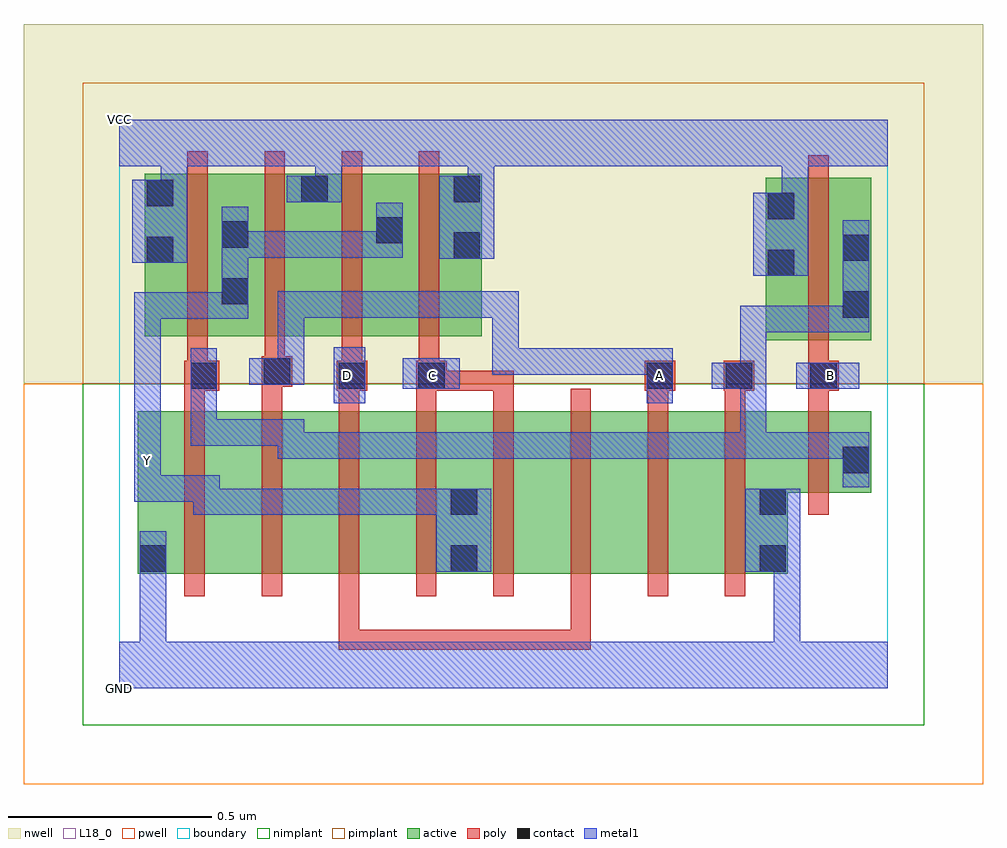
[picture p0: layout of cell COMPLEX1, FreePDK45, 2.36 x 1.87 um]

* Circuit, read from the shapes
.subckt COMPLEX1 A B C D GND VCC Y
M1 n1 n2 GND VSUBS nfet w=0.4u l=0.05u
M2 n3 A n1 VSUBS nfet w=0.4u l=0.05u
M3 n4 D n3 VSUBS nfet w=0.4u l=0.05u
M4 Y C n4 VSUBS nfet w=0.4u l=0.05u
M5 n5 C Y VSUBS nfet w=0.4u l=0.05u
M6 n6 D n5 VSUBS nfet w=0.4u l=0.05u
M7 n7 A n6 VSUBS nfet w=0.4u l=0.05u
M8 GND n2 n7 VSUBS nfet w=0.4u l=0.05u
M9 n2 B GND VSUBS nfet w=0.2u l=0.05u
M10 Y n2 VCC n8 pfet w=0.4u l=0.05u
M11 VCC A Y n8 pfet w=0.4u l=0.05u
M12 Y D VCC n8 pfet w=0.4u l=0.05u
M13 VCC C Y n8 pfet w=0.4u l=0.05u
M14 n2 B VCC n8 pfet w=0.4u l=0.05u
.ends

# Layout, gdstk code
import gdstk
lib = gdstk.Library(unit=1e-6, precision=1e-09)
def R(c, l, rs):  # rectangles x0, y0, x1, y1
    for r in rs: c.add(gdstk.rectangle(r[:2], r[2:], *l))
def A(c, l, x, y, w, h, nx, ny, dx, dy):  # array of equal rectangles
    R(c, l, [(x+i*dx, y+j*dy, x+i*dx+w, y+j*dy+h) for i in range(nx) for j in range(ny)])
active = (1, 0)
pwell = (2, 0)
nwell = (3, 0)
nimplant = (4, 0)
pimplant = (5, 0)
poly = (9, 0)
contact = (10, 0)
metal1 = (11, 0)
L18_0 = (18, 0)
boundary = (235, 0)

complex1 = lib.new_cell('COMPLEX1')
R(complex1, active, [(0.045,0.282,0.28,0.682), (0.045,0.282,0.12,0.682), (0.28,0.282,0.47,0.682), (0.47,0.282,0.66,0.682), (0.66,0.282,0.885,0.682), (0.81,0.282,1.04,0.682), (0.81,0.282,0.885,0.617), (1.04,0.282,1.23,0.682), (1.23,0.282,1.42,0.682), (1.42,0.282,1.645,0.682), (1.57,0.282,1.645,0.597), (1.57,0.482,1.85,0.682), (1.775,0.495,1.85,0.682), (1.59,0.857,1.665,1.257), (1.59,0.857,1.85,1.257), (1.775,0.857,1.85,1.2), (0.062,0.867,0.137,1.267), (0.062,0.867,0.322,1.267), (0.247,0.867,0.517,1.267), (0.442,0.867,0.702,1.267), (0.627,0.867,0.892,1.267), (0.817,0.867,0.892,1.267), (0.247,0.907,0.322,1.2), (0.442,0.907,0.517,1.267), (0.627,0.907,0.702,1.2)])
R(complex1, pwell, [(-0.235,-0.235,2.125,0.75)])
R(complex1, nwell, [(-0.235,0.75,2.125,1.635)])
R(complex1, nimplant, [(-0.09,-0.09,1.98,0.75)])
R(complex1, pimplant, [(-0.09,0.75,1.98,1.49)])
A(complex1, poly, 0.16, 0.227, 0.05, 0.51, 8, 1, 0.19, 0)
A(complex1, poly, 0.54, 0.687, 0.05, 0.095, 3, 1, 0.19, 0)
A(complex1, poly, 0.167, 0.812, 0.05, 0.51, 4, 1, 0.19, 0)
R(complex1, poly, [(0.54,0.095,0.59,0.277), (0.54,0.095,0.59,0.145), (0.54,0.095,0.59,0.145), (0.54,0.095,0.59,0.145), (0.54,0.095,0.837,0.145), (0.787,0.095,0.837,0.145), (0.787,0.095,0.837,0.145), (0.787,0.095,0.837,0.145), (0.787,0.095,0.97,0.145), (0.92,0.095,1.16,0.145), (0.92,0.095,0.97,0.145), (0.92,0.095,0.97,0.145), (0.92,0.095,0.97,0.145), (1.11,0.095,1.16,0.277), (1.11,0.095,1.16,0.145), (1.695,0.427,1.745,0.737), (0.16,0.687,0.21,0.782), (0.35,0.687,0.4,0.792), (1.3,0.687,1.35,0.782), (1.49,0.687,1.54,0.782), (1.695,0.687,1.745,0.782), (0.16,0.732,0.245,0.807), (0.535,0.732,0.61,0.807), (0.73,0.732,0.805,0.807), (0.755,0.732,0.805,0.782), (0.755,0.732,0.805,0.782), (0.755,0.732,0.97,0.782), (0.92,0.732,0.97,0.782), (1.292,0.732,1.367,0.807), (1.487,0.732,1.562,0.807), (1.695,0.732,1.77,0.807), (0.35,0.742,0.425,0.817), (0.167,0.757,0.217,0.862), (0.547,0.757,0.597,0.862), (0.737,0.757,0.787,0.862), (1.695,0.757,1.745,0.852), (0.357,0.767,0.407,0.862), (1.695,0.802,1.745,1.312)])
R(complex1, contact, [(0.05,0.287,0.115,0.352), (0.815,0.287,0.88,0.352), (1.575,0.287,1.64,0.352), (0.815,0.427,0.88,0.492), (1.575,0.427,1.64,0.492), (1.78,0.53,1.845,0.595), (0.175,0.737,0.24,0.802), (0.54,0.737,0.605,0.802), (0.735,0.737,0.8,0.802), (1.297,0.737,1.362,0.802), (1.492,0.737,1.557,0.802), (1.7,0.737,1.765,0.802), (0.355,0.747,0.42,0.812), (1.78,0.912,1.845,0.977), (0.252,0.945,0.317,1.01), (1.595,1.015,1.66,1.08), (0.067,1.047,0.132,1.112), (1.78,1.052,1.845,1.117), (0.822,1.057,0.887,1.122), (0.252,1.085,0.317,1.15), (0.632,1.095,0.697,1.16), (1.595,1.155,1.66,1.22), (0.067,1.187,0.132,1.252), (0.447,1.197,0.512,1.262), (0.822,1.197,0.887,1.262)])
R(complex1, metal1, [(0,0,1.89,0.115), (0.05,0.05,0.115,0.317), (1.61,0.05,1.675,0.115), (1.61,0.05,1.675,0.115), (1.61,0.05,1.675,0.352), (0.05,0.252,0.115,0.317), (0.05,0.252,0.115,0.317), (0.05,0.252,0.115,0.387), (0.78,0.287,0.915,0.492), (1.54,0.287,1.675,0.492), (0.182,0.427,0.385,0.492), (0.182,0.427,0.247,0.525), (0.32,0.427,0.385,0.492), (0.32,0.427,0.455,0.492), (0.39,0.427,0.455,0.492), (0.39,0.427,0.622,0.492), (0.557,0.427,0.622,0.492), (0.557,0.427,0.622,0.492), (0.557,0.427,0.622,0.492), (0.557,0.427,0.845,0.492), (0.78,0.427,0.845,0.492), (0.78,0.427,0.845,0.492), (0.037,0.46,0.102,0.525), (0.037,0.46,0.102,0.525), (0.037,0.46,0.102,0.525), (0.037,0.46,0.102,0.525), (0.037,0.46,0.247,0.525), (0.037,0.46,0.102,0.627), (0.182,0.46,0.247,0.525), (0.182,0.46,0.247,0.525), (1.78,0.495,1.845,0.63), (0.037,0.562,0.102,0.975), (0.39,0.565,0.485,0.63), (0.39,0.565,0.455,0.662), (0.42,0.565,0.485,0.63), (0.42,0.565,0.622,0.63), (0.557,0.565,0.622,0.63), (0.557,0.565,0.622,0.63), (0.557,0.565,0.622,0.63), (0.557,0.565,0.845,0.63), (0.78,0.565,0.845,0.63), (0.78,0.565,0.845,0.63), (0.78,0.565,0.845,0.63), (0.78,0.565,0.982,0.63), (0.917,0.565,0.982,0.63), (0.917,0.565,1.12,0.63), (1.055,0.565,1.12,0.63), (1.055,0.565,1.12,0.63), (1.055,0.565,1.12,0.63), (1.055,0.565,1.257,0.63), (1.192,0.565,1.257,0.63), (1.192,0.565,1.257,0.63), (1.192,0.565,1.257,0.63), (1.192,0.565,1.395,0.63), (1.33,0.565,1.395,0.63), (1.33,0.565,1.592,0.63), (1.527,0.565,1.592,0.63), (1.527,0.565,1.592,0.63), (1.527,0.565,1.592,0.63), (1.527,0.565,1.845,0.63), (1.527,0.565,1.592,0.802), (1.78,0.565,1.845,0.63), (1.78,0.565,1.845,0.63), (0.175,0.597,0.24,0.662), (0.175,0.597,0.455,0.662), (0.175,0.597,0.24,0.767), (0.175,0.702,0.24,0.767), (0.175,0.702,0.24,0.767), (0.175,0.702,0.24,0.837), (0.527,0.702,0.605,0.84), (1.297,0.702,1.362,0.837), (0.697,0.737,0.837,0.812), (1.457,0.737,1.592,0.802), (1.527,0.737,1.592,0.802), (1.527,0.737,1.592,0.802), (1.527,0.737,1.592,0.942), (1.665,0.737,1.82,0.802), (0.32,0.747,0.455,0.812), (0.39,0.747,0.455,0.812), (0.39,0.747,0.455,0.812), (0.39,0.747,0.455,0.977), (0.917,0.772,0.982,0.837), (0.917,0.772,0.982,0.837), (0.917,0.772,0.982,0.837), (0.917,0.772,0.982,0.977), (0.917,0.772,1.12,0.837), (1.055,0.772,1.12,0.837), (1.055,0.772,1.12,0.837), (1.055,0.772,1.12,0.837), (1.055,0.772,1.257,0.837), (1.192,0.772,1.257,0.837), (1.192,0.772,1.362,0.837), (1.527,0.877,1.592,0.942), (1.527,0.877,1.845,0.942), (1.78,0.877,1.845,0.942), (1.78,0.877,1.845,0.942), (1.78,0.877,1.845,1.152), (0.037,0.91,0.102,0.975), (0.037,0.91,0.102,0.975), (0.037,0.91,0.102,0.975), (0.037,0.91,0.317,0.975), (0.252,0.91,0.317,1.185), (0.39,0.912,0.455,0.977), (0.39,0.912,0.622,0.977), (0.557,0.912,0.622,0.977), (0.557,0.912,0.622,0.977), (0.557,0.912,0.622,0.977), (0.557,0.912,0.76,0.977), (0.695,0.912,0.76,0.977), (0.695,0.912,0.982,0.977), (0.917,0.912,0.982,0.977), (1.56,1.015,1.695,1.22), (0.032,1.047,0.167,1.252), (0.787,1.057,0.922,1.262), (0.252,1.06,0.317,1.125), (0.252,1.06,0.455,1.125), (0.252,1.06,0.317,1.185), (0.39,1.06,0.455,1.125), (0.39,1.06,0.455,1.125), (0.39,1.06,0.455,1.125), (0.39,1.06,0.592,1.125), (0.527,1.06,0.592,1.125), (0.527,1.06,0.697,1.125), (0.632,1.06,0.697,1.195), (1.63,1.155,1.695,1.35), (0.102,1.187,0.167,1.35), (0.412,1.197,0.547,1.262), (0.482,1.197,0.547,1.35), (0.857,1.197,0.922,1.35), (0,1.285,1.89,1.4)])
R(complex1, L18_0, [(0,0,1.89,0.115), (0.05,0.05,0.115,0.317), (1.61,0.05,1.675,0.115), (1.61,0.05,1.675,0.115), (1.61,0.05,1.675,0.352), (0.05,0.252,0.115,0.317), (0.05,0.252,0.115,0.317), (0.05,0.252,0.115,0.387), (0.78,0.287,0.915,0.492), (1.54,0.287,1.675,0.492), (0.182,0.427,0.247,0.525), (0.182,0.427,0.385,0.492), (0.32,0.427,0.385,0.492), (0.32,0.427,0.455,0.492), (0.39,0.427,0.455,0.492), (0.39,0.427,0.622,0.492), (0.557,0.427,0.622,0.492), (0.557,0.427,0.622,0.492), (0.557,0.427,0.622,0.492), (0.557,0.427,0.845,0.492), (0.78,0.427,0.845,0.492), (0.78,0.427,0.845,0.492), (0.037,0.46,0.102,0.525), (0.037,0.46,0.102,0.525), (0.037,0.46,0.102,0.525), (0.037,0.46,0.102,0.525), (0.037,0.46,0.102,0.627), (0.037,0.46,0.247,0.525), (0.182,0.46,0.247,0.525), (0.182,0.46,0.247,0.525), (0.037,0.527,0.102,0.592), (0.037,0.562,0.102,0.975), (0.527,0.702,0.605,0.84), (1.297,0.702,1.362,0.837), (0.527,0.737,0.592,0.802), (0.697,0.737,0.837,0.812), (0.737,0.737,0.802,0.802), (1.297,0.737,1.362,0.802), (1.665,0.737,1.82,0.802), (1.717,0.737,1.782,0.802), (0.32,0.747,0.455,0.812), (0.39,0.747,0.455,0.812), (0.39,0.747,0.455,0.812), (0.39,0.747,0.455,0.977), (0.917,0.772,0.982,0.837), (0.917,0.772,0.982,0.837), (0.917,0.772,0.982,0.837), (0.917,0.772,1.12,0.837), (0.917,0.772,0.982,0.977), (1.055,0.772,1.12,0.837), (1.055,0.772,1.12,0.837), (1.055,0.772,1.12,0.837), (1.055,0.772,1.257,0.837), (1.192,0.772,1.257,0.837), (1.192,0.772,1.362,0.837), (0.037,0.91,0.102,0.975), (0.037,0.91,0.102,0.975), (0.037,0.91,0.102,0.975), (0.037,0.91,0.317,0.975), (0.252,0.91,0.317,1.185), (0.39,0.912,0.455,0.977), (0.39,0.912,0.622,0.977), (0.557,0.912,0.622,0.977), (0.557,0.912,0.622,0.977), (0.557,0.912,0.622,0.977), (0.557,0.912,0.76,0.977), (0.695,0.912,0.76,0.977), (0.695,0.912,0.982,0.977), (0.917,0.912,0.982,0.977), (1.56,1.015,1.695,1.22), (0.032,1.047,0.167,1.252), (0.787,1.057,0.922,1.262), (0.252,1.06,0.317,1.125), (0.252,1.06,0.317,1.185), (0.252,1.06,0.455,1.125), (0.39,1.06,0.455,1.125), (0.39,1.06,0.455,1.125), (0.39,1.06,0.455,1.125), (0.39,1.06,0.592,1.125), (0.527,1.06,0.592,1.125), (0.527,1.06,0.697,1.125), (0.632,1.06,0.697,1.195), (1.63,1.155,1.695,1.35), (0.102,1.187,0.167,1.35), (0.412,1.197,0.547,1.262), (0.482,1.197,0.547,1.35), (0.857,1.197,0.922,1.35), (0,1.285,1.89,1.4)])
R(complex1, boundary, [(0,0,1.89,1.4)])
complex1.add(gdstk.Label('A', (1.33,0.77), layer=11, texttype=0))
complex1.add(gdstk.Label('B', (1.75,0.77), layer=11, texttype=0))
complex1.add(gdstk.Label('C', (0.77,0.77), layer=11, texttype=0))
complex1.add(gdstk.Label('D', (0.56,0.77), layer=11, texttype=0))
complex1.add(gdstk.Label('Y', (0.07,0.56), layer=11, texttype=0))
complex1.add(gdstk.Label('VCC', (0,1.4), layer=11, texttype=0))
complex1.add(gdstk.Label('GND', (0,0), layer=11, texttype=0))

lib.write_gds('COMPLEX1.gds')
